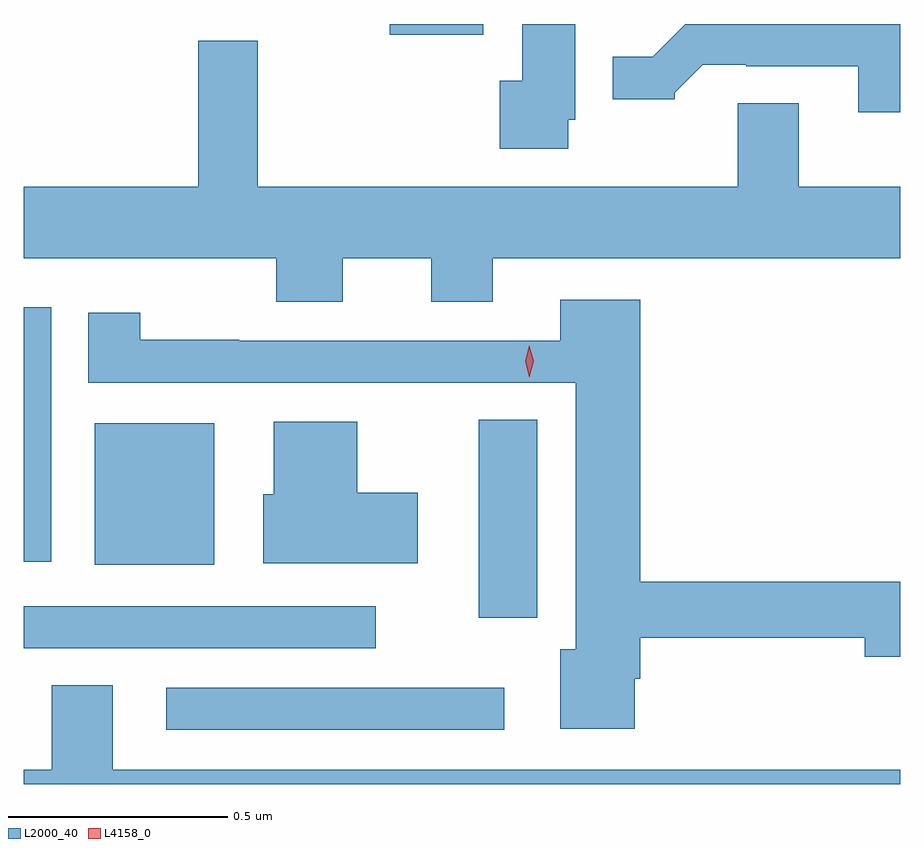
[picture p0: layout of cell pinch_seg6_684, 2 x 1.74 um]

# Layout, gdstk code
import gdstk
lib = gdstk.Library(unit=1e-6, precision=1e-09)
def R(c, l, rs):  # rectangles x0, y0, x1, y1
    for r in rs: c.add(gdstk.rectangle(r[:2], r[2:], *l))
def P(c, l, *ps):  # polygons
    for p in ps: c.add(gdstk.Polygon(p, *l))
L2000_40 = (2000, 40)
L4158_0 = (4158, 0)

pinch_seg6_684 = lib.new_cell('pinch_seg6_684')
R(pinch_seg6_684, L2000_40, [(405.507,915.624,406.279,915.72), (405.182,915.81,405.985,915.906), (406.22,915.879,406.354,916.331), (405.344,916.001,405.616,916.324), (405.182,916.007,405.244,916.588), (406.017,917.211,406.23,917.235)])
P(pinch_seg6_684, L2000_40, [(406.425,917.016),(406.441,917.016),(406.441,917.235),(406.319,917.235),(406.319,917.106),(406.268,917.106),(406.268,916.95),(406.425,916.95)],
  [(407.182,917.235),(406.692,917.235),(406.617,917.16),(406.526,917.16),(406.526,917.063),(406.668,917.063),(406.668,917.078),(406.732,917.142),(406.831,917.142),(406.831,917.139),(407.087,917.139),(407.087,917.034),(407.182,917.034)],
  [(405.91,916.7),(406.112,916.7),(406.112,916.601),(406.252,916.601),(406.252,916.7),(407.182,916.7),(407.182,916.864),(406.951,916.864),(406.951,917.054),(406.811,917.054),(406.811,916.864),(405.716,916.864),(405.716,917.197),(405.58,917.197),(405.58,916.864),(405.182,916.864),(405.182,916.7),(405.758,916.7),(405.758,916.601),(405.91,916.601)],
  [(406.576,915.74),(406.589,915.74),(406.589,915.834),(407.102,915.834),(407.102,915.791),(407.182,915.791),(407.182,915.962),(406.589,915.962),(406.589,916.606),(406.406,916.606),(406.406,916.512),(405.674,916.512),(405.674,916.514),(405.447,916.514),(405.447,916.576),(405.329,916.576),(405.329,916.416),(406.442,916.416),(406.442,915.808),(406.406,915.808),(406.406,915.626),(406.576,915.626)],
  [(406.081,916.165),(405.943,916.165),(405.943,916.327),(405.752,916.327),(405.752,916.161),(405.728,916.161),(405.728,916.004),(406.081,916.004)],
  [(407.182,915.532),(405.385,915.532),(405.385,915.725),(405.245,915.725),(405.245,915.532),(405.182,915.532),(405.182,915.5),(407.182,915.5)])
P(pinch_seg6_684, L4158_0, [(406.336,916.429),(406.336,916.429),(406.326,916.465),(406.335,916.501),(406.335,916.501),(406.335,916.501),(406.346,916.465),(406.336,916.429)])

lib.write_gds('pinch_seg6_684.gds')
